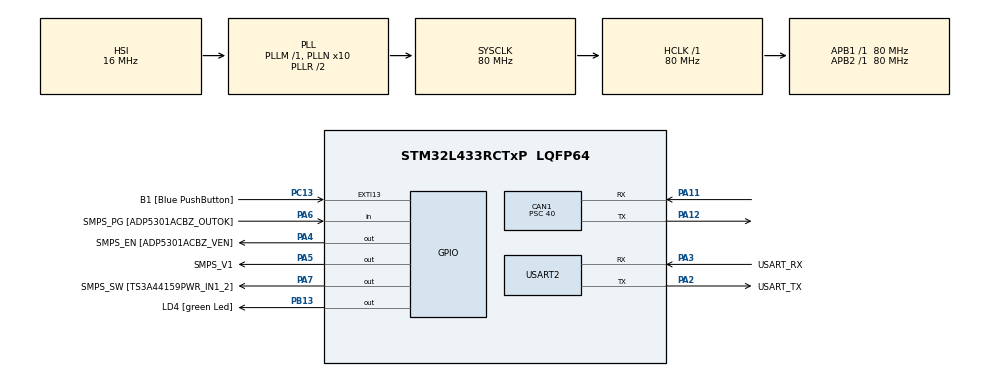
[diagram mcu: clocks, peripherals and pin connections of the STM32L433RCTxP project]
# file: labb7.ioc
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CAN1.BS1=CAN_BS1_13TQ
CAN1.BS2=CAN_BS2_2TQ
CAN1.CalculateBaudRate=125000
CAN1.CalculateTimeBit=8000
CAN1.CalculateTimeQuantum=500.0
CAN1.Mode=CAN_MODE_LOOPBACK
CAN1.Prescaler=40
Mcu.Family=STM32L4
Mcu.Name=STM32L433RCTxP
Mcu.Package=LQFP64
NVIC.CAN1_RX0_IRQn=true\:0\:0\:false\:false\:true\:true\:true\:true
NVIC.EXTI15_10_IRQn=true\:0\:0\:false\:false\:true\:true\:true\:true
NVIC.PriorityGroup=NVIC_PRIORITYGROUP_4
PA11.Mode=CAN_Activate
PA11.Signal=CAN1_RX
PA12.Mode=CAN_Activate
PA12.Signal=CAN1_TX
PA13\ (JTMS-SWDIO).GPIO_Label=TMS
PA13\ (JTMS-SWDIO).Mode=Serial_Wire
PA13\ (JTMS-SWDIO).Signal=SYS_JTMS-SWDIO
PA14\ (JTCK-SWCLK).GPIO_Label=TCK
PA14\ (JTCK-SWCLK).Mode=Serial_Wire
PA14\ (JTCK-SWCLK).Signal=SYS_JTCK-SWCLK
PA2.GPIO_Label=USART_TX
PA2.GPIO_Mode=GPIO_MODE_AF_PP
PA2.GPIO_PuPd=GPIO_NOPULL
PA2.GPIO_Speed=GPIO_SPEED_FREQ_VERY_HIGH
PA2.Mode=Asynchronous
PA2.Signal=USART2_TX
PA3.GPIO_Label=USART_RX
PA3.GPIO_Mode=GPIO_MODE_AF_PP
PA3.GPIO_PuPd=GPIO_NOPULL
PA3.GPIO_Speed=GPIO_SPEED_FREQ_VERY_HIGH
PA3.Mode=Asynchronous
PA3.Signal=USART2_RX
PA4.GPIO_Label=SMPS_EN [ADP5301ACBZ_VEN]
PA4.Signal=GPIO_Output
PA5.GPIO_Label=SMPS_V1
PA5.GPIO_ModeDefaultOutputPP=GPIO_MODE_OUTPUT_PP
PA5.GPIO_PuPd=GPIO_NOPULL
PA5.GPIO_Speed=GPIO_SPEED_FREQ_LOW
PA5.Signal=GPIO_Output
PA6.GPIO_Label=SMPS_PG [ADP5301ACBZ_OUTOK]
PA6.GPIO_PuPd=GPIO_PULLUP
PA6.Signal=GPIO_Input
PA7.GPIO_Label=SMPS_SW [TS3A44159PWR_IN1_2]
PA7.Signal=GPIO_Output
PB13.GPIO_Label=LD4 [green Led]
PB13.Signal=GPIO_Output
PB3\ (JTDO-TRACESWO).GPIO_Label=SWO
PB3\ (JTDO-TRACESWO).Signal=SYS_JTDO-SWO
PC13.GPIO_Label=B1 [Blue PushButton]
PC13.GPIO_ModeDefaultEXTI=GPIO_MODE_IT_FALLING
PC13.GPIO_PuPd=GPIO_NOPULL
PC13.Signal=GPXTI13
PC14-OSC32_IN\ (PC14).Mode=LSE-External-Oscillator
PC14-OSC32_IN\ (PC14).Signal=RCC_OSC32_IN
PC15-OSC32_OUT\ (PC15).Mode=LSE-External-Oscillator
PC15-OSC32_OUT\ (PC15).Signal=RCC_OSC32_OUT
PH0-OSC_IN\ (PH0).GPIO_Label=MCO
PH0-OSC_IN\ (PH0).Mode=HSE-External-Clock-Source
PH0-OSC_IN\ (PH0).Signal=RCC_OSC_IN
PH1-OSC_OUT\ (PH1).Signal=RCC_OSC_OUT
ProjectManager.HeapSize=0x200
ProjectManager.StackSize=0x400
ProjectManager.TargetToolchain=STM32CubeIDE
RCC.ADCFreq_Value=64000000
RCC.AHBFreq_Value=80000000
RCC.APB1Freq_Value=80000000
RCC.APB1TimFreq_Value=80000000
RCC.APB2Freq_Value=80000000
RCC.APB2TimFreq_Value=80000000
RCC.CortexFreq_Value=80000000
RCC.HCLKFreq_Value=80000000
RCC.HSE_VALUE=8000000
RCC.HSI48_VALUE=48000000
RCC.HSI_VALUE=16000000
RCC.MSI_VALUE=4000000
RCC.PLLN=10
RCC.PLLSourceVirtual=RCC_PLLSOURCE_HSI
RCC.PREFETCH_ENABLE=1
RCC.SYSCLKFreq_VALUE=80000000
RCC.SYSCLKSource=RCC_SYSCLKSOURCE_PLLCLK
RCC.USBFreq_Value=64000000
RCC.VCOOutputFreq_Value=160000000
USART2.VirtualMode-Asynchronous=VM_ASYNC
board=NUCLEO-L433RC-P

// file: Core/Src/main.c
/* USER CODE BEGIN Header */
/**
 ******************************************************************************
 * @file           : main.c
 * @brief          : Main program body
 ******************************************************************************
 * @attention
 *
 * Copyright (c) 2026 STMicroelectronics.
 * All rights reserved.
 *
 * This software is licensed under terms that can be found in the LICENSE file
 * in the root directory of this software component.
 * If no LICENSE file comes with this software, it is provided AS-IS.
 *
 ******************************************************************************
 */
/* USER CODE END Header */
#include "main.h"

/* USER CODE BEGIN Includes */
#include "lab_can.h"
/* USER CODE END Includes */

CAN_HandleTypeDef hcan1;

UART_HandleTypeDef huart2;

/* USER CODE BEGIN PV */
char len[40] = {'\0'};
uint16_t ptr;
/* USER CODE END PV */

void SystemClock_Config(void);
static void MX_GPIO_Init(void);
static void MX_USART2_UART_Init(void);
static void MX_CAN1_Init(void);

/* USER CODE BEGIN 0 */
int _write ( int file , char * ptr , int len) {
	HAL_UART_Transmit(&huart2, (uint8_t *)ptr, len, HAL_MAX_DELAY);
	return len;
}
/* USER CODE END 0 */

int main(void)
{

  /* MCU Configuration--------------------------------------------------------*/

  /* Reset of all peripherals, Initializes the Flash interface and the Systick. */
  HAL_Init();

  /* Configure the system clock */
  SystemClock_Config();

  /* Initialize all configured peripherals */
  MX_GPIO_Init();
  MX_USART2_UART_Init();
  MX_CAN1_Init();
  /* USER CODE BEGIN 2 */

	LAB_CAN_PrintBanner();
	LAB_CAN_InitAndStart();
	//printf ("Welcome to CAN lab \r\n");

  /* USER CODE END 2 */

  /* Infinite loop */
  /* USER CODE BEGIN WHILE */
	while (1)
	{
		LAB_CAN_Periodic();
    /* USER CODE END WHILE */

	}
}

void SystemClock_Config(void)
{
  RCC_OscInitTypeDef RCC_OscInitStruct = {0};
  RCC_ClkInitTypeDef RCC_ClkInitStruct = {0};

  /** Configure the main internal regulator output voltage
  */
  if (HAL_PWREx_ControlVoltageScaling(PWR_REGULATOR_VOLTAGE_SCALE1) != HAL_OK)
  {
    Error_Handler();
  }

  /** Initializes the RCC Oscillators according to the specified parameters
  * in the RCC_OscInitTypeDef structure.
  */
  RCC_OscInitStruct.OscillatorType = RCC_OSCILLATORTYPE_HSI;
  RCC_OscInitStruct.HSIState = RCC_HSI_ON;
  RCC_OscInitStruct.HSICalibrationValue = RCC_HSICALIBRATION_DEFAULT;
  RCC_OscInitStruct.PLL.PLLState = RCC_PLL_ON;
  RCC_OscInitStruct.PLL.PLLSource = RCC_PLLSOURCE_HSI;
  RCC_OscInitStruct.PLL.PLLM = 1;
  RCC_OscInitStruct.PLL.PLLN = 10;
  RCC_OscInitStruct.PLL.PLLP = RCC_PLLP_DIV7;
  RCC_OscInitStruct.PLL.PLLQ = RCC_PLLQ_DIV2;
  RCC_OscInitStruct.PLL.PLLR = RCC_PLLR_DIV2;
  if (HAL_RCC_OscConfig(&RCC_OscInitStruct) != HAL_OK)
  {
    Error_Handler();
  }

  /** Initializes the CPU, AHB and APB buses clocks
  */
  RCC_ClkInitStruct.ClockType = RCC_CLOCKTYPE_HCLK|RCC_CLOCKTYPE_SYSCLK
                              |RCC_CLOCKTYPE_PCLK1|RCC_CLOCKTYPE_PCLK2;
  RCC_ClkInitStruct.SYSCLKSource = RCC_SYSCLKSOURCE_PLLCLK;
  RCC_ClkInitStruct.AHBCLKDivider = RCC_SYSCLK_DIV1;
  RCC_ClkInitStruct.APB1CLKDivider = RCC_HCLK_DIV1;
  RCC_ClkInitStruct.APB2CLKDivider = RCC_HCLK_DIV1;

  if (HAL_RCC_ClockConfig(&RCC_ClkInitStruct, FLASH_LATENCY_4) != HAL_OK)
  {
    Error_Handler();
  }
}

static void MX_CAN1_Init(void)
{

  hcan1.Instance = CAN1;
  hcan1.Init.Prescaler = 40;
  hcan1.Init.Mode = CAN_MODE_LOOPBACK;
  hcan1.Init.SyncJumpWidth = CAN_SJW_1TQ;
  hcan1.Init.TimeSeg1 = CAN_BS1_13TQ;
  hcan1.Init.TimeSeg2 = CAN_BS2_2TQ;
  hcan1.Init.TimeTriggeredMode = DISABLE;
  hcan1.Init.AutoBusOff = DISABLE;
  hcan1.Init.AutoWakeUp = DISABLE;
  hcan1.Init.AutoRetransmission = DISABLE;
  hcan1.Init.ReceiveFifoLocked = DISABLE;
  hcan1.Init.TransmitFifoPriority = DISABLE;
  if (HAL_CAN_Init(&hcan1) != HAL_OK)
  {
    Error_Handler();
  }

}

static void MX_USART2_UART_Init(void)
{

  huart2.Instance = USART2;
  huart2.Init.BaudRate = 115200;
  huart2.Init.WordLength = UART_WORDLENGTH_8B;
  huart2.Init.StopBits = UART_STOPBITS_1;
  huart2.Init.Parity = UART_PARITY_NONE;
  huart2.Init.Mode = UART_MODE_TX_RX;
  huart2.Init.HwFlowCtl = UART_HWCONTROL_NONE;
  huart2.Init.OverSampling = UART_OVERSAMPLING_16;
  huart2.Init.OneBitSampling = UART_ONE_BIT_SAMPLE_DISABLE;
  huart2.AdvancedInit.AdvFeatureInit = UART_ADVFEATURE_NO_INIT;
  if (HAL_UART_Init(&huart2) != HAL_OK)
  {
    Error_Handler();
  }

}

static void MX_GPIO_Init(void)
{
  GPIO_InitTypeDef GPIO_InitStruct = {0};

  /* GPIO Ports Clock Enable */
  __HAL_RCC_GPIOC_CLK_ENABLE();
  __HAL_RCC_GPIOH_CLK_ENABLE();
  __HAL_RCC_GPIOA_CLK_ENABLE();
  __HAL_RCC_GPIOB_CLK_ENABLE();

  /*Configure GPIO pin Output Level */
  HAL_GPIO_WritePin(GPIOA, SMPS_EN_Pin|SMPS_V1_Pin|SMPS_SW_Pin, GPIO_PIN_RESET);

  /*Configure GPIO pin Output Level */
  HAL_GPIO_WritePin(LD4_GPIO_Port, LD4_Pin, GPIO_PIN_RESET);

  /*Configure GPIO pin : B1_Pin */
  GPIO_InitStruct.Pin = B1_Pin;
  GPIO_InitStruct.Mode = GPIO_MODE_IT_FALLING;
  GPIO_InitStruct.Pull = GPIO_NOPULL;
  HAL_GPIO_Init(B1_GPIO_Port, &GPIO_InitStruct);

  /*Configure GPIO pins : SMPS_EN_Pin SMPS_V1_Pin SMPS_SW_Pin */
  GPIO_InitStruct.Pin = SMPS_EN_Pin|SMPS_V1_Pin|SMPS_SW_Pin;
  GPIO_InitStruct.Mode = GPIO_MODE_OUTPUT_PP;
  GPIO_InitStruct.Pull = GPIO_NOPULL;
  GPIO_InitStruct.Speed = GPIO_SPEED_FREQ_LOW;
  HAL_GPIO_Init(GPIOA, &GPIO_InitStruct);

  /*Configure GPIO pin : SMPS_PG_Pin */
  GPIO_InitStruct.Pin = SMPS_PG_Pin;
  GPIO_InitStruct.Mode = GPIO_MODE_INPUT;
  GPIO_InitStruct.Pull = GPIO_PULLUP;
  HAL_GPIO_Init(SMPS_PG_GPIO_Port, &GPIO_InitStruct);

  /*Configure GPIO pin : LD4_Pin */
  GPIO_InitStruct.Pin = LD4_Pin;
  GPIO_InitStruct.Mode = GPIO_MODE_OUTPUT_PP;
  GPIO_InitStruct.Pull = GPIO_NOPULL;
  GPIO_InitStruct.Speed = GPIO_SPEED_FREQ_LOW;
  HAL_GPIO_Init(LD4_GPIO_Port, &GPIO_InitStruct);

  /* EXTI interrupt init*/
  HAL_NVIC_SetPriority(EXTI15_10_IRQn, 0, 0);
  HAL_NVIC_EnableIRQ(EXTI15_10_IRQn);

}

/* USER CODE BEGIN 4 */

void HAL_GPIO_EXTI_Callback(uint16_t GPIO_Pin){

	if (GPIO_Pin == B1_Pin) {
		LAB_CAN_SendArbLow();
	}
}

void HAL_CAN_RxFifo0MsgPendingCallback(CAN_HandleTypeDef *hcan)
{
    if (hcan->Instance == CAN1)
    {
        LAB_CAN_OnRxFifo0Pending();
    }
}
/* USER CODE END 4 */

void Error_Handler(void)
{
	__disable_irq();
	while (1)
	{
	}
}
